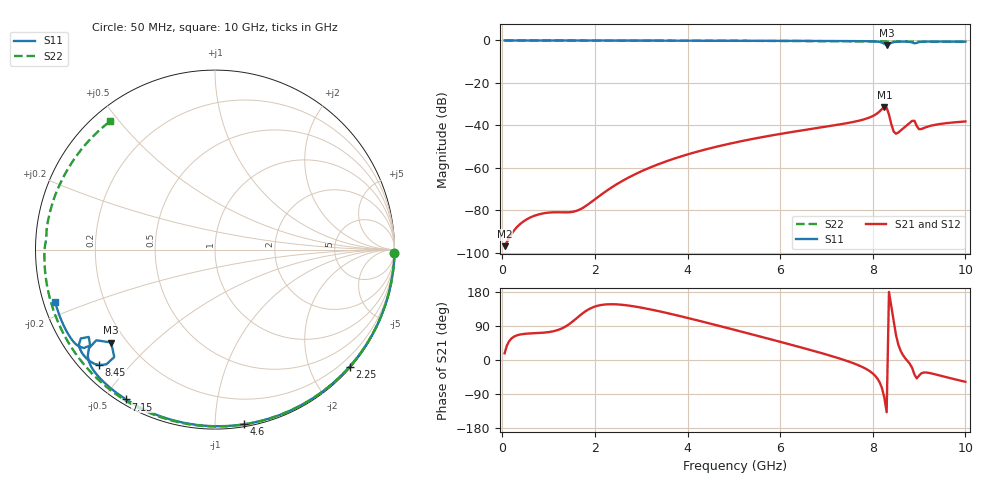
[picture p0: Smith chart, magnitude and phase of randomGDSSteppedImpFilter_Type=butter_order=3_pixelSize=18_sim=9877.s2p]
! freq	dB(S11)	phase(S11)	dB(S12)	phase(S12)
!  dB(S21)	phase(S21)	dB(S22)	phase(S22)
!S-par simulation data
#  GHz  S  DB  R 50
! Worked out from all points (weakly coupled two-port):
!   200 points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, 50 MHz to 10 GHz, reference 50 ohm
!   highest |S21| = -31.28 dB at 8.25 GHz (marker M1); lowest = -96.9 dB at 50 MHz (marker M2)
!   lowest |S11| = -2.2 dB at 8.3 GHz (marker M3), VSWR 7.93, Z = 7.21 - j18.8 ohm
!   |S11| at or under -10 dB: nowhere
!   |S22| runs from -0.7 to 0.0 dB; largest |S21 - S12| = 0
!   S11 on the Smith chart (normalised r, x): 50 MHz: open; 2.25 GHz: 0.02, -2.68; 4.6 GHz: 0.02, -1.18; 7.15 GHz: 0.02, -0.57; 8.45 GHz: 0.05, -0.41; 10 GHz: 0.03, -0.16
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0.05  -0.00 -0.9  -96.90 17.5  -96.90 17.5  -0.00 -1.2
0.8  -0.02 -14.8  -81.85 71.3  -81.85 71.3  -0.02 -18.9
1.6  -0.04 -29.4  -80.27 109.7  -80.27 109.7  -0.05 -37.4
1.75  -0.04 -32.0  -78.72 124.6  -78.72 124.6  -0.05 -40.9
2.25  -0.05 -40.9  -70.85 146.8  -70.85 146.8  -0.07 -52.2
2.8  -0.06 -50.6  -63.74 142.4  -63.74 142.4  -0.08 -64.4
3.4  -0.08 -60.8  -58.05 128.3  -58.05 128.3  -0.10 -77.5
4.6  -0.12 -80.7  -50.18 92.6  -50.18 92.6  -0.15 -102.8
5.05  -0.14 -87.9  -47.96 78.5  -47.96 78.5  -0.17 -112.2
6.7  -0.22 -113.7  -41.57 24.8  -41.57 24.8  -0.29 -146.8
7.15  -0.26 -120.7  -40.04 9.0  -40.04 9.0  -0.33 -156.6
7.9  -0.37 -133.5  -36.54 -26.8  -36.54 -26.8  -0.41 -173.8
8.15  -0.69 -140.1  -33.37 -59.3  -33.37 -59.3  -0.45 -179.8
8.25  -1.60 -142.6  -31.28 -99.5  -31.28 -99.5  -0.49 177.7
8.3  -2.20 -138.2  -31.70 -137.8  -31.70 -137.8  -0.52 176.6
8.35  -1.72 -133.2  -34.94 179.7  -34.94 179.7  -0.51 175.5
8.45  -0.81 -135.1  -42.87 102.7  -42.87 102.7  -0.49 173.1
8.55  -0.59 -138.3  -43.39 41.3  -43.39 41.3  -0.50 170.5
8.85  -0.95 -146.5  -37.87 -20.8  -37.87 -20.8  -0.53 162.6
8.9  -1.36 -145.3  -37.84 -38.3  -37.84 -38.3  -0.53 161.3
9  -0.78 -143.1  -41.81 -41.1  -41.81 -41.1  -0.55 158.6
10  -0.56 -162.0  -38.15 -57.5  -38.15 -57.5  -0.69 129.2
